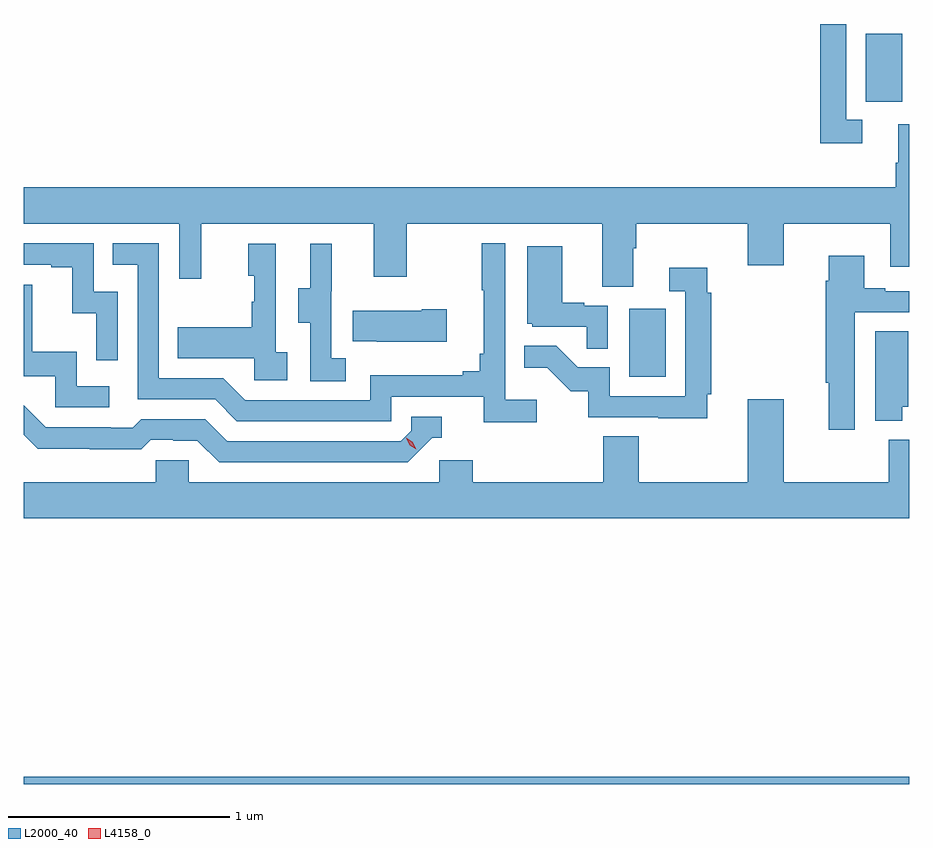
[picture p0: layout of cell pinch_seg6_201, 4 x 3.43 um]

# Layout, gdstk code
import gdstk
lib = gdstk.Library(unit=1e-6, precision=1e-09)
def R(c, l, rs):  # rectangles x0, y0, x1, y1
    for r in rs: c.add(gdstk.rectangle(r[:2], r[2:], *l))
def P(c, l, *ps):  # polygons
    for p in ps: c.add(gdstk.Polygon(p, *l))
L2000_40 = (2000, 40)
L4158_0 = (4158, 0)

pinch_seg6_201 = lib.new_cell('pinch_seg6_201')
R(pinch_seg6_201, L2000_40, [(1072.826,915.5,1076.826,915.532), (1075.562,917.34,1075.726,917.647), (1076.63,918.582,1076.794,918.889)])
P(pinch_seg6_201, L2000_40, [(1076.614,918.501),(1076.541,918.501),(1076.541,918.934),(1076.425,918.934),(1076.425,918.396),(1076.614,918.396)],
  [(1076.826,918.482),(1076.777,918.482),(1076.777,918.308),(1076.765,918.308),(1076.765,918.196),(1072.826,918.196),(1072.826,918.032),(1073.529,918.032),(1073.529,917.784),(1073.627,917.784),(1073.627,918.032),(1074.407,918.032),(1074.407,917.793),(1074.555,917.793),(1074.555,918.032),(1075.439,918.032),(1075.439,917.746),(1075.579,917.746),(1075.579,917.92),(1075.592,917.92),(1075.592,918.032),(1076.096,918.032),(1076.096,917.844),(1076.26,917.844),(1076.26,918.032),(1076.741,918.032),(1076.741,917.838),(1076.826,917.838)],
  [(1075.144,917.236),(1075.002,917.236),(1075.002,917.944),(1074.894,917.944),(1074.894,917.731),(1074.905,917.731),(1074.905,917.443),(1074.886,917.443),(1074.886,917.366),(1074.809,917.366),(1074.809,917.347),(1074.39,917.347),(1074.39,917.235),(1073.826,917.235),(1073.727,917.334),(1073.436,917.334),(1073.436,917.943),(1073.227,917.943),(1073.227,917.847),(1073.34,917.847),(1073.34,917.238),(1073.69,917.238),(1073.789,917.139),(1074.486,917.139),(1074.486,917.25),(1074.905,917.25),(1074.905,917.134),(1075.144,917.134)],
  [(1073.25,917.724),(1073.142,917.724),(1073.142,917.943),(1072.826,917.943),(1072.826,917.847),(1072.949,917.847),(1072.949,917.835),(1073.045,917.835),(1073.045,917.627),(1073.154,917.627),(1073.154,917.415),(1073.25,917.415)],
  [(1074.28,917.423),(1074.216,917.423),(1074.216,917.727),(1074.218,917.727),(1074.218,917.941),(1074.119,917.941),(1074.119,917.739),(1074.065,917.739),(1074.065,917.584),(1074.12,917.584),(1074.12,917.32),(1074.28,917.32)],
  [(1074.016,917.45),(1073.964,917.45),(1073.964,917.941),(1073.84,917.941),(1073.84,917.796),(1073.866,917.796),(1073.866,917.678),(1073.856,917.678),(1073.856,917.563),(1073.521,917.563),(1073.521,917.423),(1073.868,917.423),(1073.868,917.325),(1074.016,917.325)],
  [(1075.464,917.661),(1075.358,917.661),(1075.358,917.674),(1075.258,917.674),(1075.258,917.929),(1075.1,917.929),(1075.1,917.58),(1075.122,917.58),(1075.122,917.565),(1075.369,917.565),(1075.369,917.467),(1075.464,917.467)],
  [(1076.581,917.631),(1076.826,917.631),(1076.826,917.727),(1076.719,917.727),(1076.719,917.74),(1076.623,917.74),(1076.623,917.887),(1076.462,917.887),(1076.462,917.774),(1076.45,917.774),(1076.45,917.312),(1076.462,917.312),(1076.462,917.1),(1076.581,917.1)],
  [(1075.913,917.26),(1075.931,917.26),(1075.931,917.72),(1075.913,917.72),(1075.913,917.833),(1075.743,917.833),(1075.743,917.727),(1075.815,917.727),(1075.815,917.253),(1075.473,917.253),(1075.473,917.382),(1075.329,917.382),(1075.231,917.48),(1075.087,917.48),(1075.087,917.381),(1075.191,917.381),(1075.298,917.274),(1075.375,917.274),(1075.375,917.157),(1075.693,917.157),(1075.693,917.152),(1075.913,917.152)],
  [(1073.212,917.298),(1073.064,917.298),(1073.064,917.452),(1072.865,917.452),(1072.865,917.755),(1072.826,917.755),(1072.826,917.343),(1072.968,917.343),(1072.968,917.202),(1073.212,917.202)],
  [(1074.736,917.646),(1074.623,917.646),(1074.623,917.638),(1074.313,917.638),(1074.313,917.501),(1074.421,917.501),(1074.421,917.498),(1074.736,917.498)],
  [(1076.794,917.205),(1076.821,917.205),(1076.821,917.546),(1076.672,917.546),(1076.672,917.141),(1076.794,917.141)],
  [(1076.826,917.056),(1076.734,917.056),(1076.734,916.864),(1076.26,916.864),(1076.26,917.239),(1076.096,917.239),(1076.096,916.864),(1075.605,916.864),(1075.605,917.072),(1075.445,917.072),(1075.445,916.864),(1074.854,916.864),(1074.854,916.962),(1074.702,916.962),(1074.702,916.864),(1073.571,916.864),(1073.571,916.962),(1073.421,916.962),(1073.421,916.864),(1072.826,916.864),(1072.826,916.7),(1076.826,916.7)],
  [(1074.672,917.064),(1074.715,917.064),(1074.715,917.16),(1074.576,917.16),(1074.576,917.097),(1074.528,917.049),(1073.745,917.049),(1073.646,917.148),(1073.357,917.148),(1073.318,917.109),(1073.219,917.109),(1073.219,917.112),(1072.926,917.112),(1072.826,917.212),(1072.826,917.077),(1072.888,917.015),(1073.124,917.015),(1073.124,917.013),(1073.357,917.013),(1073.399,917.055),(1073.502,917.055),(1073.502,917.052),(1073.609,917.052),(1073.708,916.953),(1074.561,916.953)])
P(pinch_seg6_201, L4158_0, [(1074.6,917.012),(1074.569,917.031),(1074.553,917.064),(1074.553,917.064),(1074.553,917.064),(1074.584,917.045),(1074.6,917.012),(1074.6,917.012)])

lib.write_gds('pinch_seg6_201.gds')
